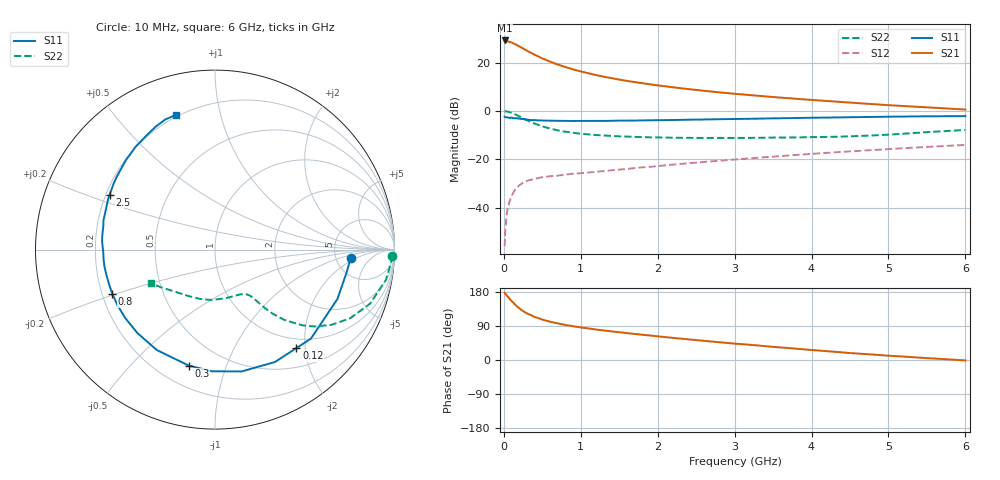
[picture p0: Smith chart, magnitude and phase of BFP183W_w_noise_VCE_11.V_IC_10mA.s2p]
! Infineon Technologies  Discrete & RF Semiconductors
! BFP183W
! VCE =  11. V,  IC =  10 mA
! Common Emitter S-Parameters:  Jan 2017
# GHz  S  MA  R  50
!  f  S11  S21  S12  S22
! GHz  MAG  ANG  MAG  ANG  MAG  ANG  MAG  ANG
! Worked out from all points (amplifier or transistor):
!   77 points, 10 MHz to 6 GHz, reference 50 ohm
!   highest |S21| = 29.2 dB at 10 MHz (marker M1)
!   |S21| within 3 dB of that: start of sweep to 231.7 MHz
!   unconditionally stable (mu >= 1): 1.707 GHz to 3.875 GHz
!   at 130 MHz: K = 0.14, MSG = 30.6 dB, |S12| = -33.4 dB
!   at 2.2 GHz: K = 1.06, MAG = 14.5 dB, |S12| = -22.2 dB
!   at 6 GHz: K = 0.84, MSG = 7.3 dB, |S12| = -14.0 dB
!   lowest NFmin = 0.92 dB at 450 MHz
!   S11 on the Smith chart (normalised r, x): 10 MHz: 6.88, -1.53; 120 MHz: 0.82, -1.83; 300 MHz: 0.32, -0.75; 800 MHz: 0.24, -0.19; 2.5 GHz: 0.21, +0.23; 6 GHz: 0.19, +0.73
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0.01  0.757 -3.6  28.68 177.8  0.0016 75.0  0.9889 -2.0
0.02  0.744 -10.0  28.3 174.5  0.0035 78.7  0.9839 -4.1
0.05  0.7354 -22.0  27.59 167.4  0.0096 78.6  0.9676 -10.0
0.1  0.7291 -42.9  26.02 155.7  0.0174 70.9  0.9161 -19.1
0.12  0.7119 -50.4  25.08 151.8  0.02 66.6  0.8858 -22.1
0.15  0.7098 -61.9  23.91 145.4  0.0241 61.9  0.8452 -26.9
0.2  0.6949 -77.7  21.65 136.5  0.029 56.5  0.7731 -32.8
0.25  0.6781 -91.4  19.56 129.0  0.0329 50.9  0.7041 -37.5
0.3  0.6624 -102.8  17.61 123.0  0.0358 47.3  0.6426 -41.0
0.4  0.6468 -120.1  14.55 113.5  0.0396 42.7  0.5475 -45.5
0.5  0.6348 -132.9  12.21 106.7  0.0427 39.6  0.4806 -48.0
0.6  0.629 -142.5  10.48 101.1  0.0447 38.5  0.4324 -49.4
0.8  0.6231 -156.7  8.097 92.5  0.0483 39.7  0.3728 -50.8
0.9  0.6209 -162.0  7.238 89.1  0.0503 38.8  0.3533 -51.4
1.1  0.623 -170.8  6 83.3  0.0533 40.7  0.3279 -52.5
1.5  0.6307 176.0  4.451 73.3  0.0614 44.1  0.2989 -56.1
2.1  0.6463 160.8  3.228 60.4  0.075 48.0  0.2814 -65.0
2.5  0.6622 152.4  2.72 52.6  0.0854 49.5  0.2772 -73.1
3.1  0.6851 141.5  2.195 41.7  0.1019 50.1  0.2769 -86.2
4.1  0.7267 126.2  1.648 24.9  0.1328 48.6  0.2886 -110.0
5.1  0.7635 114.7  1.289 10.1  0.166 44.9  0.3308 -136.0
6  0.7818 106.3  1.07 -1.2  0.1984 39.9  0.405 -152.4
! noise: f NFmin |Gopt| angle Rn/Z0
0.45  0.92  0.1  112  0.11
0.9  0.97  0.18  144  0.09
1.9  1.47  0.37  -176  0.07
2.4  1.72  0.44  -167  0.09
